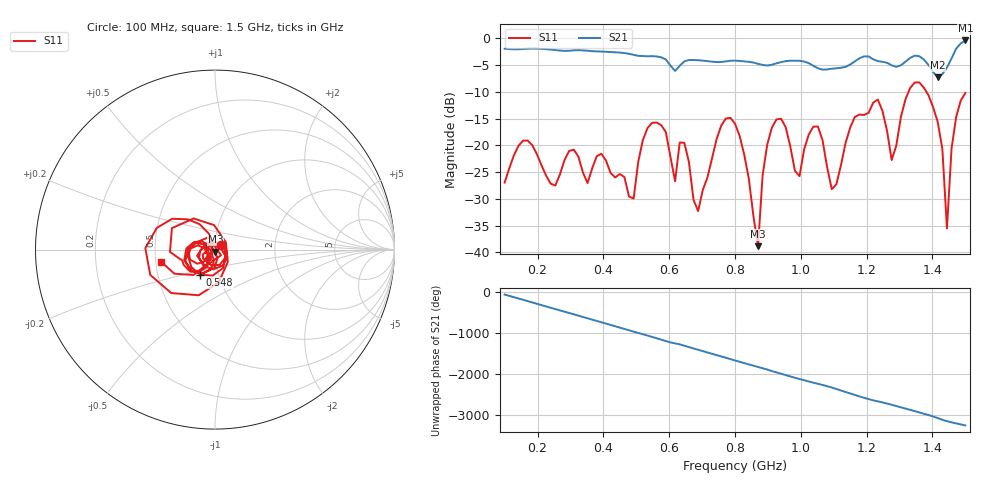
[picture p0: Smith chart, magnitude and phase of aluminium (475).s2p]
! NanoVNA-App
! Date: 2025-09-25 14:58:59
! Start: 100MHz Stop: 1,5GHz Points: 101
! S-Parameter data: F S11 S21 S12 S22
# Hz S RI R 50
!  Frequency  S11_Real  S11_Imag  S21_Real  S21_Imag  S12_Real  S12_Imag  S22_Real  S22_Imag
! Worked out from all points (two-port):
!   101 points, 100 MHz to 1.5 GHz, reference 50 ohm
!   highest |S21| = -0.38 dB at 1.5 GHz (marker M1); lowest = -7.3 dB at 1.416 GHz (marker M2)
!   |S21| within 3 dB of the highest: start of sweep to 563.2 MHz; 1.461 GHz to end of sweep (the widest 2 of 4)
!   lowest |S11| = -38.8 dB at 870 MHz (marker M3), VSWR 1.02, Z = 50.2 - j1.13 ohm
!   |S11| at or under -10 dB: start of sweep to 1.327 GHz; 1.382 GHz to end of sweep
!   S12 and S22 are empty: the file has one direction only
!   S11 on the Smith chart (normalised r, x): 100 MHz: 1.07, +0.06; 548 MHz: 0.82, -0.24; 1.5 GHz: 0.53, -0.08
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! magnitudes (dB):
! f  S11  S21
! 100 MHz  -27.0  -1.9
! 156 MHz  -19.1  -2.0
! 338 MHz  -25.1  -2.2
! 492 MHz  -29.9  -3.1
! 548 MHz  -15.8  -3.3
! 576 MHz  -16.2  -3.5
! 618 MHz  -26.7  -6.1
! 646 MHz  -19.5  -4.3
! 688 MHz  -32.3  -4.1
! 800 MHz  -15.9  -4.1
! 870 MHz  -38.8  -4.7
! 912 MHz  -16.7  -4.9
! 996 MHz  -25.8  -4.2
! 1.038 GHz  -16.5  -5.1
! 1.094 GHz  -28.2  -5.7
! 1.234 GHz  -11.4  -4.2
! 1.276 GHz  -22.7  -5.0
! 1.346 GHz  -8.2  -3.2
! 1.416 GHz  -15.6  -7.3
! 1.444 GHz  -35.5  -5.4
! 1.458 GHz  -20.5  -3.7
! 1.5 GHz  -10.2  -0.4
